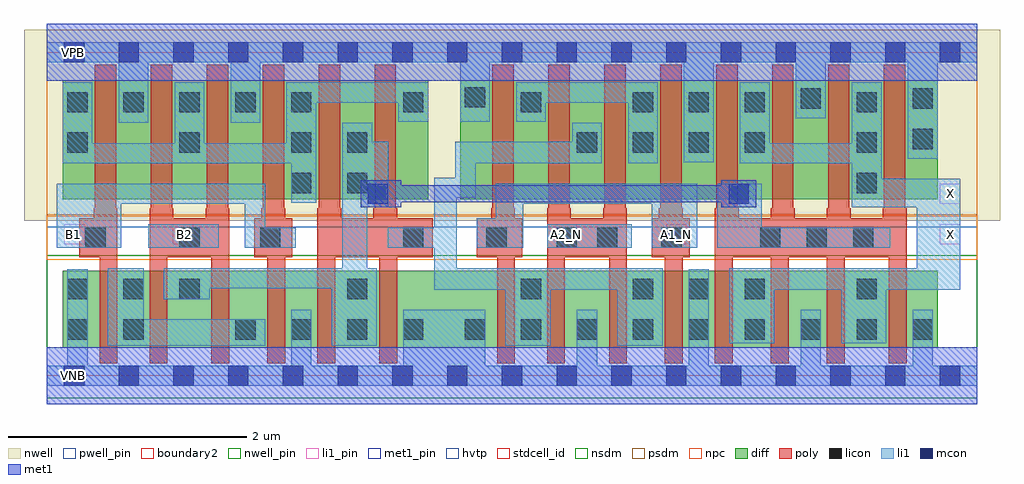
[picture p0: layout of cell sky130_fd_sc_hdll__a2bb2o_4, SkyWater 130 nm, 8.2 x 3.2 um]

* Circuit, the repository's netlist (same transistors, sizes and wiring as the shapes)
* Copyright 2020 The SkyWater PDK Authors
*
* Licensed under the Apache License, Version 2.0 (the "License");
* you may not use this file except in compliance with the License.
* You may obtain a copy of the License at
*
*     https://www.apache.org/licenses/LICENSE-2.0
*
* Unless required by applicable law or agreed to in writing, software
* distributed under the License is distributed on an "AS IS" BASIS,
* WITHOUT WARRANTIES OR CONDITIONS OF ANY KIND, either express or implied.
* See the License for the specific language governing permissions and
* limitations under the License.
*
* SPDX-License-Identifier: Apache-2.0

.SUBCKT sky130_fd_sc_hdll__a2bb2o_4 A1_N A2_N B1 B2 VGND VNB VPB VPWR X
*.PININFO A1_N:I A2_N:I B1:I B2:I VGND:I VNB:I VPB:I VPWR:I X:O
MMIN2 X y VGND VNB sky130_fd_pr__nfet_01v8 m=4 w=0.65U l=0.15U mult=1 sa=0.265
+ sb=0.265 sd=0.28 area=0.063 perim=1.14
MMNnor0 inor A1_N VGND VNB sky130_fd_pr__nfet_01v8 m=2 w=0.65U l=0.15U mult=1 sa=0.265
+ sb=0.265 sd=0.28 area=0.063 perim=1.14
MMNnor1 inor A2_N VGND VNB sky130_fd_pr__nfet_01v8 m=2 w=0.65U l=0.15U mult=1 sa=0.265
+ sb=0.265 sd=0.28 area=0.063 perim=1.14
MMNaoi10 VGND B1 sndNB1 VNB sky130_fd_pr__nfet_01v8 m=2 w=0.65U l=0.15U mult=1
+ sa=0.265 sb=0.265 sd=0.28 area=0.063 perim=1.14
MMNaoi11 sndNB1 B2 y VNB sky130_fd_pr__nfet_01v8 m=2 w=0.65U l=0.15U mult=1 sa=0.265
+ sb=0.265 sd=0.28 area=0.063 perim=1.14
MMNaoi20 y inor VGND VNB sky130_fd_pr__nfet_01v8 m=2 w=0.65U l=0.15U mult=1 sa=0.265
+ sb=0.265 sd=0.28 area=0.063 perim=1.14
MMPaoi20 y inor pmid VPB sky130_fd_pr__pfet_01v8_hvt m=2 w=1.0U l=0.18U mult=1
+ sa=0.265 sb=0.265 sd=0.28 area=0.063 perim=1.14
MMIP2 X y VPWR VPB sky130_fd_pr__pfet_01v8_hvt m=4 w=1.0U l=0.18U mult=1 sa=0.265
+ sb=0.265 sd=0.28 area=0.063 perim=1.14
MMPnor0 VPWR A1_N sndPA1N VPB sky130_fd_pr__pfet_01v8_hvt m=2 w=1.0U l=0.18U mult=1
+ sa=0.265 sb=0.265 sd=0.28 area=0.063 perim=1.14
MMPnor1 sndPA1N A2_N inor VPB sky130_fd_pr__pfet_01v8_hvt m=2 w=1.0U l=0.18U mult=1
+ sa=0.265 sb=0.265 sd=0.28 area=0.063 perim=1.14
MMPaoi10 pmid B1 VPWR VPB sky130_fd_pr__pfet_01v8_hvt m=2 w=1.0U l=0.18U mult=1
+ sa=0.265 sb=0.265 sd=0.28 area=0.063 perim=1.14
MMPaoi11 pmid B2 VPWR VPB sky130_fd_pr__pfet_01v8_hvt m=2 w=1.0U l=0.18U mult=1
+ sa=0.265 sb=0.265 sd=0.28 area=0.063 perim=1.14
.ENDS sky130_fd_sc_hdll__a2bb2o_4

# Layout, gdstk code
import gdstk
lib = gdstk.Library(unit=1e-6, precision=1e-09)
def R(c, l, rs):  # rectangles x0, y0, x1, y1
    for r in rs: c.add(gdstk.rectangle(r[:2], r[2:], *l))
def A(c, l, x, y, w, h, nx, ny, dx, dy):  # array of equal rectangles
    R(c, l, [(x+i*dx, y+j*dy, x+i*dx+w, y+j*dy+h) for i in range(nx) for j in range(ny)])
def P(c, l, *ps):  # polygons
    for p in ps: c.add(gdstk.Polygon(p, *l))
nwell_pin = (64, 16)
nwell = (64, 20)
diff = (65, 20)
poly = (66, 20)
licon = (66, 44)
li1_pin = (67, 16)
li1 = (67, 20)
mcon = (67, 44)
met1_pin = (68, 16)
met1 = (68, 20)
hvtp = (78, 44)
stdcell_id = (81, 4)
nsdm = (93, 44)
psdm = (94, 20)
npc = (95, 20)
pwell_pin = (122, 16)
boundary2 = (236, 0)

sky130_fd_sc_hdll__a2bb2 = lib.new_cell('sky130_fd_sc_hdll__a2bb2o_4')
R(sky130_fd_sc_hdll__a2bb2, nwell_pin, [(0.15,2.635,0.32,2.805)])
R(sky130_fd_sc_hdll__a2bb2, nwell, [(-0.19,1.305,8.01,2.91)])
R(sky130_fd_sc_hdll__a2bb2, diff, [(0.135,0.235,7.485,0.885), (0.135,1.485,3.205,2.485), (3.475,1.485,7.485,2.485)])
P(sky130_fd_sc_hdll__a2bb2, poly, [(0.595,1.41),(0.585,1.41),(0.585,2.615),(0.405,2.615),(0.405,1.41),(0.395,1.41),(0.395,1.325),(0.275,1.325),(0.275,0.995),(0.445,0.995),(0.445,0.105),(0.595,0.105)],
  [(1.535,1.41),(1.525,1.41),(1.525,2.615),(1.345,2.615),(1.345,1.41),(1.335,1.41),(1.335,1.325),(1.065,1.325),(1.065,1.41),(1.055,1.41),(1.055,2.615),(0.875,2.615),(0.875,1.41),(0.865,1.41),(0.865,0.105),(1.015,0.105),(1.015,0.995),(1.385,0.995),(1.385,0.105),(1.535,0.105)],
  [(2.065,1.325),(2.005,1.325),(2.005,1.41),(1.995,1.41),(1.995,2.615),(1.815,2.615),(1.815,1.41),(1.805,1.41),(1.805,1.325),(1.745,1.325),(1.745,0.995),(1.855,0.995),(1.855,0.105),(2.005,0.105),(2.005,0.995),(2.065,0.995)],
  [(3.245,1.325),(2.945,1.325),(2.945,1.41),(2.935,1.41),(2.935,2.615),(2.755,2.615),(2.755,1.41),(2.745,1.41),(2.745,1.325),(2.475,1.325),(2.475,1.41),(2.465,1.41),(2.465,2.615),(2.285,2.615),(2.285,1.41),(2.275,1.41),(2.275,0.105),(2.425,0.105),(2.425,0.995),(2.795,0.995),(2.795,0.105),(2.945,0.105),(2.945,0.995),(3.245,0.995)],
  [(3.995,1.325),(3.935,1.325),(3.935,1.41),(3.925,1.41),(3.925,2.615),(3.745,2.615),(3.745,1.41),(3.735,1.41),(3.735,1.325),(3.615,1.325),(3.615,0.995),(3.785,0.995),(3.785,0.105),(3.935,0.105),(3.935,0.995),(3.995,0.995)],
  [(4.875,1.41),(4.865,1.41),(4.865,2.615),(4.685,2.615),(4.685,1.41),(4.675,1.41),(4.675,1.325),(4.405,1.325),(4.405,1.41),(4.395,1.41),(4.395,2.615),(4.215,2.615),(4.215,1.41),(4.205,1.41),(4.205,0.105),(4.355,0.105),(4.355,0.995),(4.725,0.995),(4.725,0.105),(4.875,0.105)],
  [(5.405,1.325),(5.345,1.325),(5.345,1.41),(5.335,1.41),(5.335,2.615),(5.155,2.615),(5.155,1.41),(5.145,1.41),(5.145,1.325),(5.085,1.325),(5.085,0.995),(5.195,0.995),(5.195,0.105),(5.345,0.105),(5.345,0.995),(5.405,0.995)],
  [(7.225,1.41),(7.215,1.41),(7.215,2.615),(7.035,2.615),(7.035,1.41),(7.025,1.41),(7.025,1.325),(6.755,1.325),(6.755,1.41),(6.745,1.41),(6.745,2.615),(6.565,2.615),(6.565,1.41),(6.555,1.41),(6.555,1.325),(6.285,1.325),(6.285,1.41),(6.275,1.41),(6.275,2.615),(6.095,2.615),(6.095,1.41),(6.085,1.41),(6.085,1.325),(5.815,1.325),(5.815,1.41),(5.805,1.41),(5.805,2.615),(5.625,2.615),(5.625,1.41),(5.615,1.41),(5.615,0.105),(5.765,0.105),(5.765,0.995),(6.085,0.995),(6.085,0.105),(6.235,0.105),(6.235,0.995),(6.555,0.995),(6.555,0.105),(6.705,0.105),(6.705,0.995),(7.075,0.995),(7.075,0.105),(7.225,0.105)])
A(sky130_fd_sc_hdll__a2bb2, licon, 1.585, 0.305, 0.17, 0.17, 4, 1, 0.47, 0)
A(sky130_fd_sc_hdll__a2bb2, licon, 3.515, 0.305, 0.17, 0.17, 9, 1, 0.47, 0)
A(sky130_fd_sc_hdll__a2bb2, licon, 0.175, 0.645, 0.17, 0.17, 3, 1, 0.47, 0)
A(sky130_fd_sc_hdll__a2bb2, licon, 4.925, 0.645, 0.17, 0.17, 3, 2, 0.47, 1.57)
A(sky130_fd_sc_hdll__a2bb2, licon, 5.995, 1.075, 0.17, 0.17, 3, 1, 0.39, 0)
A(sky130_fd_sc_hdll__a2bb2, licon, 6.805, 1.535, 0.17, 0.17, 1, 3, 0, 0.34)
A(sky130_fd_sc_hdll__a2bb2, licon, 0.175, 1.875, 0.17, 0.17, 3, 1, 0.94, 0)
A(sky130_fd_sc_hdll__a2bb2, licon, 4.455, 1.875, 0.17, 0.17, 4, 1, 0.47, 0)
A(sky130_fd_sc_hdll__a2bb2, licon, 0.175, 2.215, 0.17, 0.17, 5, 1, 0.47, 0)
R(sky130_fd_sc_hdll__a2bb2, licon, [(0.175,0.305,0.345,0.475), (0.645,0.305,0.815,0.475), (2.525,0.645,2.695,0.815), (3.985,0.645,4.155,0.815), (6.805,0.645,6.975,0.815), (0.325,1.075,0.495,1.245), (1.115,1.075,1.285,1.245), (1.795,1.075,1.965,1.245), (2.995,1.075,3.165,1.245), (3.695,1.075,3.865,1.245), (4.285,1.075,4.455,1.245), (4.625,1.075,4.795,1.245), (5.165,1.075,5.335,1.245), (2.055,1.535,2.225,1.705), (2.525,1.535,2.695,1.705), (2.525,1.875,2.695,2.045), (7.275,1.905,7.445,2.075), (2.995,2.215,3.165,2.385), (3.985,2.215,4.155,2.385), (6.335,2.245,6.505,2.415), (7.275,2.245,7.445,2.415), (3.515,2.255,3.685,2.425)])
R(sky130_fd_sc_hdll__a2bb2, li1_pin, [(0.15,1.105,0.32,1.275), (1.06,1.105,1.23,1.275), (4.285,1.105,4.455,1.275), (5.205,1.105,5.375,1.275), (7.505,1.105,7.675,1.275), (7.505,1.445,7.675,1.615)])
R(sky130_fd_sc_hdll__a2bb2, li1, [(0.855,1.075,1.445,1.275), (4.205,1.075,4.915,1.275)])
P(sky130_fd_sc_hdll__a2bb2, li1, [(1.835,0.475),(0.815,0.475),(0.815,0.905),(0.515,0.905),(0.515,0.255),(1.835,0.255)],
  [(2.095,1.245),(1.835,1.245),(1.835,1.615),(0.085,1.615),(0.085,1.075),(0.625,1.075),(0.625,1.445),(1.665,1.445),(1.665,1.075),(2.095,1.075)],
  [(2.87,1.965),(2.735,1.965),(2.735,2.125),(2.485,2.125),(2.485,0.905),(0.985,0.905),(0.985,0.645),(1.37,0.645),(1.37,0.735),(2.395,0.735),(2.395,0.255),(2.775,0.255),(2.775,0.905),(2.695,0.905),(2.695,1.415),(2.87,1.415)],
  [(5.465,1.615),(3.775,1.615),(3.775,1.325),(3.615,1.325),(3.615,1.075),(4.005,1.075),(4.005,1.445),(5.085,1.445),(5.085,1.075),(5.465,1.075)],
  [(7.09,1.245),(6.01,1.245),(6.01,1.615),(5.635,1.615),(5.635,1.075),(7.09,1.075)],
  [(7.675,1.655),(7.015,1.655),(7.015,2.465),(6.765,2.465),(6.765,1.955),(6.075,1.955),(6.075,2.465),(5.825,2.465),(5.825,1.785),(6.765,1.785),(6.765,1.415),(7.31,1.415),(7.31,0.905),(5.735,0.905),(5.735,0.275),(6.115,0.275),(6.115,0.725),(6.675,0.725),(6.675,0.275),(7.055,0.275),(7.055,0.725),(7.675,0.725)],
  [(7.82,2.805),(0,2.805),(0,2.635),(0.605,2.635),(0.605,2.125),(0.855,2.125),(0.855,2.635),(1.545,2.635),(1.545,2.125),(1.795,2.125),(1.795,2.635),(3.475,2.635),(3.475,2.135),(3.725,2.135),(3.725,2.635),(5.355,2.635),(5.355,1.795),(5.605,1.795),(5.605,2.635),(6.295,2.635),(6.295,2.165),(6.545,2.165),(6.545,2.635),(7.235,2.635),(7.235,1.825),(7.485,1.825),(7.485,2.635),(7.82,2.635)],
  [(7.82,0.085),(7.445,0.085),(7.445,0.555),(7.275,0.555),(7.275,0.085),(6.505,0.085),(6.505,0.555),(6.335,0.555),(6.335,0.085),(5.565,0.085),(5.565,0.895),(5.395,0.895),(5.395,0.085),(4.625,0.085),(4.625,0.555),(4.455,0.555),(4.455,0.085),(3.685,0.085),(3.685,0.555),(2.995,0.555),(2.995,0.085),(2.225,0.085),(2.225,0.555),(2.055,0.555),(2.055,0.085),(0.345,0.085),(0.345,0.895),(0.175,0.895),(0.175,0.085),(0,0.085),(0,-0.085),(7.82,-0.085)],
  [(3.205,2.465),(2.015,2.465),(2.015,1.955),(1.325,1.955),(1.325,2.465),(1.075,2.465),(1.075,1.955),(0.385,1.955),(0.385,2.465),(0.135,2.465),(0.135,1.785),(2.055,1.785),(2.055,1.455),(2.265,1.455),(2.265,2.295),(2.955,2.295),(2.955,2.135),(3.205,2.135)],
  [(5.135,2.465),(3.945,2.465),(3.945,2.135),(4.195,2.135),(4.195,2.295),(4.885,2.295),(4.885,1.785),(5.135,1.785)],
  [(5.175,0.905),(3.445,0.905),(3.445,1.495),(3.605,1.495),(3.605,1.785),(4.665,1.785),(4.665,2.125),(4.415,2.125),(4.415,1.965),(3.435,1.965),(3.435,1.665),(3.255,1.665),(3.255,1.245),(2.865,1.245),(2.865,1.075),(3.255,1.075),(3.255,0.725),(3.855,0.725),(3.855,0.255),(4.235,0.255),(4.235,0.725),(4.795,0.725),(4.795,0.255),(5.175,0.255)])
A(sky130_fd_sc_hdll__a2bb2, mcon, 0.145, -0.085, 0.17, 0.17, 17, 2, 0.46, 2.72)
R(sky130_fd_sc_hdll__a2bb2, mcon, [(2.7,1.445,2.87,1.615), (5.73,1.445,5.9,1.615)])
R(sky130_fd_sc_hdll__a2bb2, met1_pin, [(0.15,-0.085,0.32,0.085), (0.15,2.635,0.32,2.805)])
R(sky130_fd_sc_hdll__a2bb2, met1, [(0,-0.24,7.82,0.24), (0,2.48,7.82,2.96)])
P(sky130_fd_sc_hdll__a2bb2, met1, [(5.96,1.645),(5.67,1.645),(5.67,1.6),(2.98,1.6),(2.98,1.645),(2.64,1.645),(2.64,1.415),(2.98,1.415),(2.98,1.46),(5.67,1.46),(5.67,1.415),(5.96,1.415)])
R(sky130_fd_sc_hdll__a2bb2, hvtp, [(0,1.25,7.82,2.72)])
R(sky130_fd_sc_hdll__a2bb2, stdcell_id, [(0,0,7.82,2.72)])
R(sky130_fd_sc_hdll__a2bb2, nsdm, [(0,-0.19,7.82,1.015)])
R(sky130_fd_sc_hdll__a2bb2, psdm, [(0,1.355,7.82,2.91)])
R(sky130_fd_sc_hdll__a2bb2, npc, [(0,0.975,7.82,1.345)])
R(sky130_fd_sc_hdll__a2bb2, pwell_pin, [(0.15,-0.085,0.32,0.085)])
R(sky130_fd_sc_hdll__a2bb2, boundary2, [(0,0,7.82,2.72)])
sky130_fd_sc_hdll__a2bb2.add(gdstk.Label('X', (7.59,1.19), layer=67, texttype=5))
sky130_fd_sc_hdll__a2bb2.add(gdstk.Label('B1', (0.23,1.19), layer=67, texttype=5))
sky130_fd_sc_hdll__a2bb2.add(gdstk.Label('B2', (1.155,1.19), layer=67, texttype=5))
sky130_fd_sc_hdll__a2bb2.add(gdstk.Label('X', (7.59,1.53), layer=67, texttype=5))
sky130_fd_sc_hdll__a2bb2.add(gdstk.Label('A1_N', (5.29,1.19), layer=67, texttype=5))
sky130_fd_sc_hdll__a2bb2.add(gdstk.Label('A2_N', (4.37,1.19), layer=67, texttype=5))
sky130_fd_sc_hdll__a2bb2.add(gdstk.Label('VNB', (0.23,0), layer=64, texttype=59))
sky130_fd_sc_hdll__a2bb2.add(gdstk.Label('VPB', (0.23,2.72), layer=64, texttype=5))
sky130_fd_sc_hdll__a2bb2.add(gdstk.Label('VGND', (0.23,0), layer=68, texttype=5))
sky130_fd_sc_hdll__a2bb2.add(gdstk.Label('VPWR', (0.23,2.72), layer=68, texttype=5))

lib.write_gds('sky130_fd_sc_hdll__a2bb2o_4.gds')
